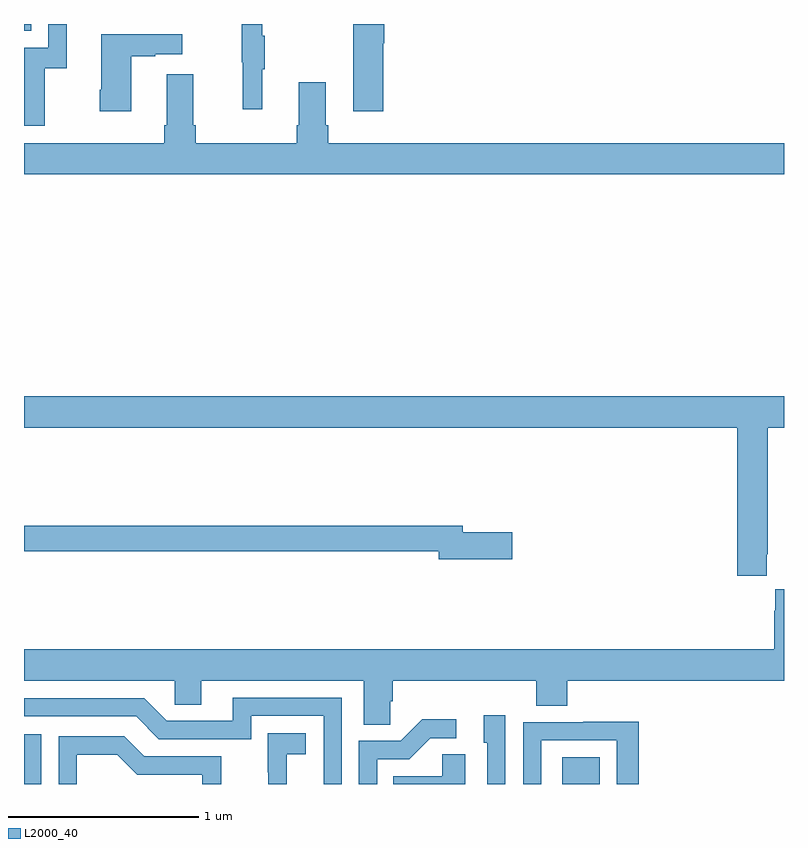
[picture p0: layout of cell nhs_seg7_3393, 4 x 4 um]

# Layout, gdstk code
import gdstk
lib = gdstk.Library(unit=1e-6, precision=1e-09)
def R(c, l, rs):  # rectangles x0, y0, x1, y1
    for r in rs: c.add(gdstk.rectangle(r[:2], r[2:], *l))
def P(c, l, *ps):  # polygons
    for p in ps: c.add(gdstk.Polygon(p, *l))
L2000_40 = (2000, 40)

nhs_seg7_3393 = lib.new_cell('nhs_seg7_3393')
R(nhs_seg7_3393, L2000_40, [(325,1072,325.092,1072.261), (327.833,1072,328.03,1072.141), (325,1075.965,325.038,1076)])
P(nhs_seg7_3393, L2000_40, [(325.108,1075.767),(325.226,1075.767),(325.226,1076),(325.128,1076),(325.128,1075.875),(325,1075.875),(325,1075.464),(325.108,1075.464)],
  [(326.255,1075.763),(326.266,1075.763),(326.266,1075.937),(326.255,1075.937),(326.255,1076),(326.145,1076),(326.145,1075.8),(326.152,1075.8),(326.152,1075.551),(326.255,1075.551)],
  [(326.891,1075.899),(326.896,1075.899),(326.896,1076),(326.732,1076),(326.732,1075.542),(326.891,1075.542)],
  [(325.564,1075.831),(325.691,1075.831),(325.691,1075.841),(325.834,1075.841),(325.834,1075.945),(325.406,1075.945),(325.406,1075.654),(325.399,1075.654),(325.399,1075.542),(325.564,1075.542)],
  [(329,1075.372),(326.6,1075.372),(326.6,1075.468),(326.587,1075.468),(326.587,1075.693),(326.447,1075.693),(326.447,1075.468),(326.435,1075.468),(326.435,1075.372),(325.904,1075.372),(325.904,1075.468),(325.891,1075.468),(325.891,1075.735),(325.751,1075.735),(325.751,1075.468),(325.739,1075.468),(325.739,1075.372),(325,1075.372),(325,1075.208),(329,1075.208)],
  [(328.909,1073.209),(328.914,1073.209),(328.914,1073.876),(329,1073.876),(329,1074.04),(325,1074.04),(325,1073.876),(328.754,1073.876),(328.754,1073.097),(328.909,1073.097)],
  [(327.571,1073.324),(327.31,1073.324),(327.31,1073.36),(325,1073.36),(325,1073.224),(327.182,1073.224),(327.182,1073.182),(327.571,1073.182)],
  [(326.928,1072.435),(326.942,1072.435),(326.942,1072.544),(327.695,1072.544),(327.695,1072.411),(327.86,1072.411),(327.86,1072.544),(329,1072.544),(329,1073.026),(328.955,1073.026),(328.955,1072.913),(328.949,1072.913),(328.949,1072.708),(325,1072.708),(325,1072.544),(325.794,1072.544),(325.794,1072.417),(325.933,1072.417),(325.933,1072.544),(326.789,1072.544),(326.789,1072.312),(326.928,1072.312)],
  [(326.673,1072.455),(326.099,1072.455),(326.099,1072.332),(325.752,1072.332),(325.632,1072.452),(325,1072.452),(325,1072.356),(325.59,1072.356),(325.71,1072.236),(326.196,1072.236),(326.196,1072.359),(326.577,1072.359),(326.577,1072),(326.673,1072)],
  [(327.534,1072.363),(327.419,1072.363),(327.419,1072.218),(327.438,1072.218),(327.438,1072),(327.534,1072)],
  [(326.859,1072.131),(327.028,1072.131),(327.139,1072.242),(327.274,1072.242),(327.274,1072.34),(327.095,1072.34),(326.982,1072.227),(326.763,1072.227),(326.763,1072),(326.859,1072)],
  [(327.723,1072.23),(328.119,1072.23),(328.119,1072),(328.235,1072),(328.235,1072.328),(327.943,1072.328),(327.943,1072.326),(327.627,1072.326),(327.627,1072),(327.723,1072)],
  [(326.384,1072.157),(326.482,1072.157),(326.482,1072.267),(326.284,1072.267),(326.284,1072.061),(326.285,1072.061),(326.285,1072),(326.384,1072)],
  [(325.278,1072.154),(325.492,1072.154),(325.596,1072.05),(325.938,1072.05),(325.938,1072),(326.037,1072),(326.037,1072.146),(325.633,1072.146),(325.528,1072.251),(325.182,1072.251),(325.182,1072),(325.278,1072)],
  [(327.322,1072.157),(327.201,1072.157),(327.201,1072.042),(326.944,1072.042),(326.944,1072),(327.322,1072)])

lib.write_gds('nhs_seg7_3393.gds')
